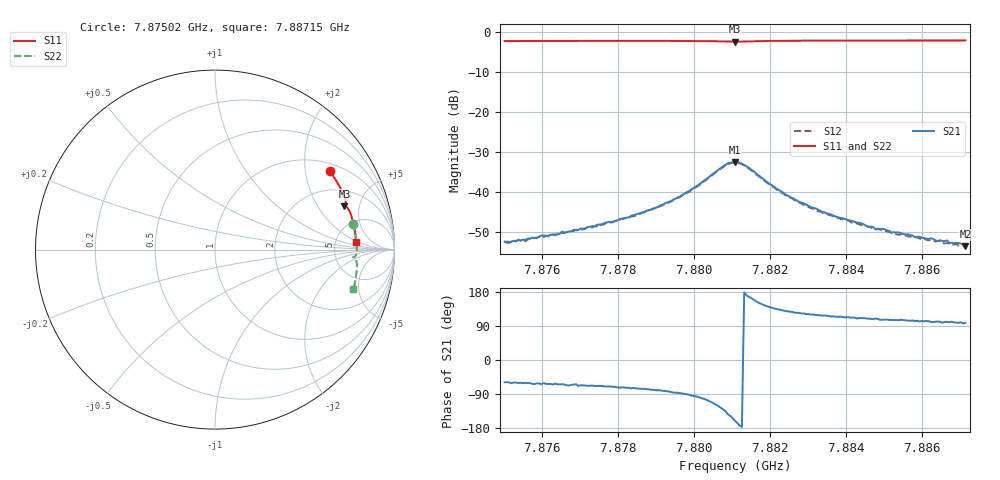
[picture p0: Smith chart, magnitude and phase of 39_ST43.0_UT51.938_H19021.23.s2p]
#  HZ  S  DB  R  50.00
! Rohde & Schwarz Vector Network Analyzer
! Rohde-Schwarz,ZNB20-2Port,1311601062101988,3.16
! Created: UTC 1/12/2023, 6:32:01 PM
! freq[Hz]  db:S11  ang:S11  db:S21  ang:S21  db:S12  ang:S12  db:S22  ang:S22
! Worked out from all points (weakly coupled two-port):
!   201 points, 7.87502 GHz to 7.88715 GHz, reference 50 ohm
!   highest |S21| = -32.49 dB at 7.88109 GHz (marker M1); lowest = -53.5 dB at 7.88715 GHz (marker M2)
!   lowest |S11| = -2.4 dB at 7.88109 GHz (marker M3), VSWR 7.34, Z = 155 + j177 ohm
!   |S11| at or under -10 dB: nowhere
!   |S22| runs from -2.3 to -1.9 dB; largest |S21 - S12| = 0.002
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7.87502e9  -2.22 34.5  -52.40 -58.9  -52.51 -61.8  -2.14 10.6
7.875141e9  -2.22 34.2  -52.70 -59.2  -52.50 -62.2  -2.13 10.2
7.875384e9  -2.22 33.5  -51.92 -60.8  -51.94 -60.9  -2.13 9.6
7.875566e9  -2.21 33.0  -51.95 -60.4  -52.33 -63.3  -2.12 9.2
7.875687e9  -2.22 32.7  -51.66 -60.8  -51.60 -66.0  -2.12 8.9
7.877082e9  -2.19 28.9  -49.14 -67.0  -49.40 -70.7  -2.08 5.7
7.878295e9  -2.17 25.5  -46.29 -73.5  -46.44 -76.7  -2.05 2.8
7.879084e9  -2.17 23.3  -43.57 -79.6  -43.68 -84.4  -2.04 0.9
7.879872e9  -2.19 21.0  -39.80 -91.5  -39.93 -94.9  -2.05 -1.0
7.880903e9  -2.36 18.5  -32.79 -143.6  -33.05 -145.3  -2.23 -3.2
7.881085e9  -2.38 18.5  -32.49 -160.5  -32.62 -163.2  -2.25 -3.1
7.881449e9  -2.31 18.3  -33.88 166.7  -34.13 163.2  -2.19 -3.1
7.88242e9  -2.15 15.6  -40.65 129.3  -40.83 125.3  -2.01 -5.3
7.883148e9  -2.13 13.6  -43.97 120.1  -44.19 116.7  -1.98 -7.1
7.884603e9  -2.10 9.7  -48.78 109.2  -48.64 106.5  -1.94 -10.4
7.885149e9  -2.09 8.2  -49.73 105.4  -50.01 104.1  -1.94 -11.6
7.885756e9  -2.09 6.6  -50.85 104.6  -51.50 101.1  -1.93 -12.9
7.886423e9  -2.08 4.8  -52.25 101.5  -52.23 97.9  -1.92 -14.4
7.886665e9  -2.08 4.2  -52.08 100.3  -52.77 96.1  -1.92 -14.8
7.886726e9  -2.08 4.1  -52.73 99.6  -52.85 97.7  -1.92 -15.0
7.887029e9  -2.08 3.3  -52.86 99.5  -53.51 93.1  -1.92 -15.6
7.887151e9  -2.07 3.0  -53.52 98.4  -53.53 94.5  -1.91 -15.9
